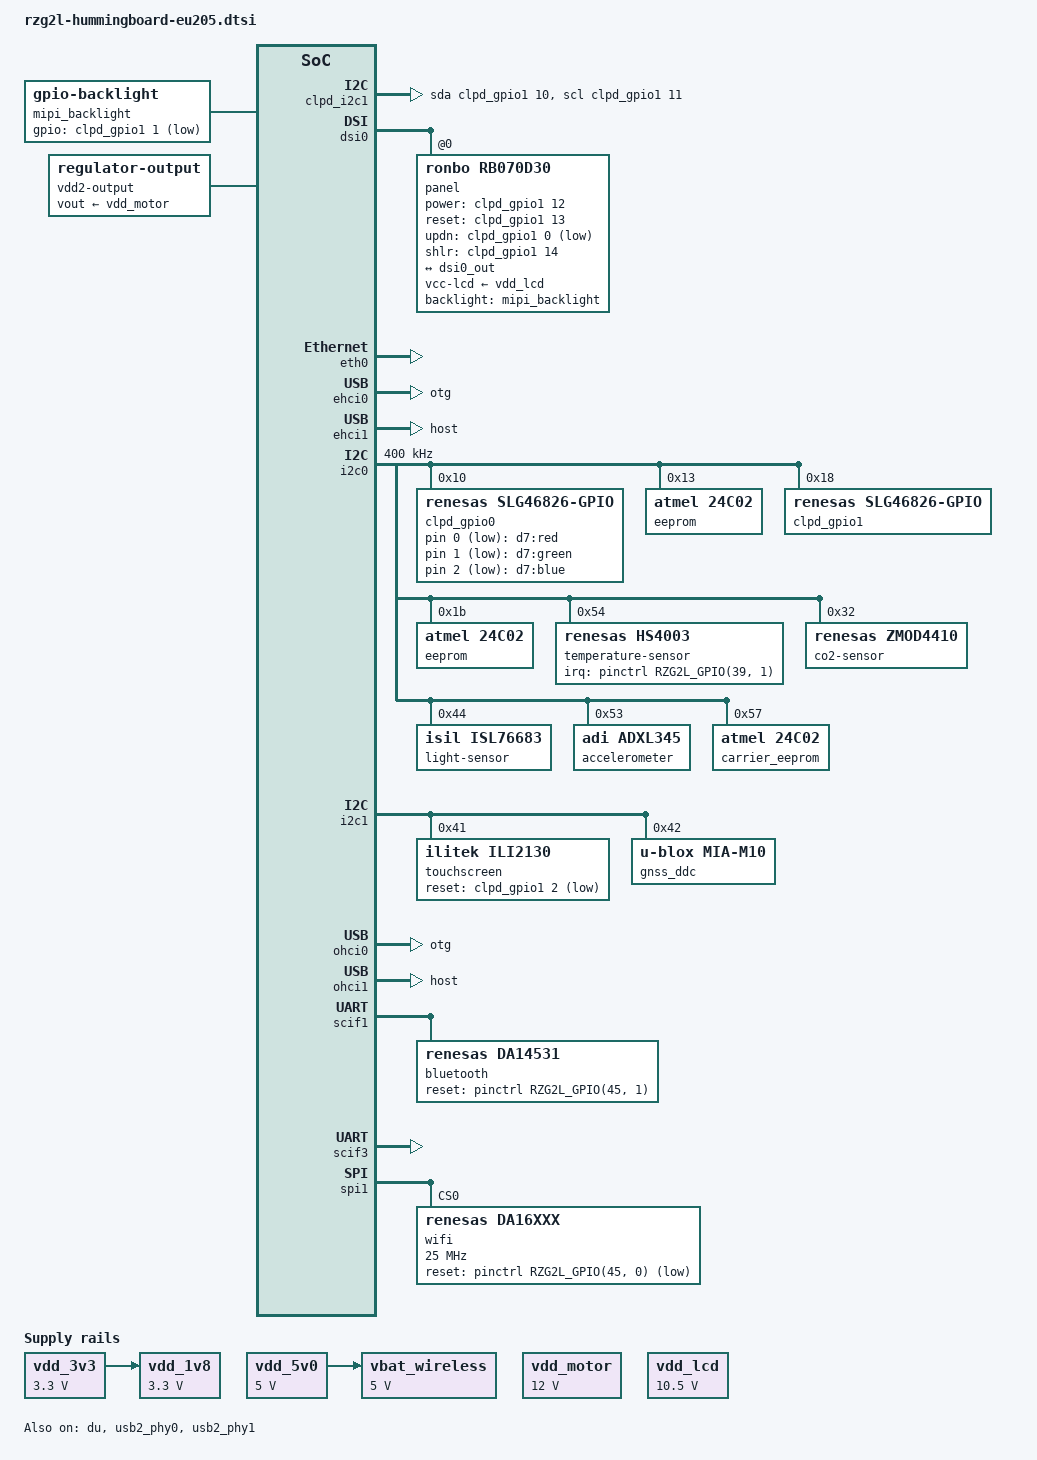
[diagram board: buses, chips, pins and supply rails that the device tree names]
// SPDX-License-Identifier: GPL-2.0+
/*
 * Copyright (C) 2025 Josua Mayer <josua@solid-run.com>
 *
 * DTS for Renesas EU205 Evaluation Board.
 *
 */

/ {
	aliases {
		serial0 = &scif0;
		serial1 = &scif1;
		serial2 = &scif2;
		serial3 = &scif3;
		i2c0 = &i2c0;
		i2c1 = &i2c1;
		i2c2 = &i2c2;
		i2c3 = &i2c3;
		i2c4 = &clpd_i2c1;
		mmc0 = &sdhi0;
		mmc1 = &sdhi1;
		ethernet0 = &eth0;
		gpio0 = &pinctrl;
		gpio1 = &clpd_gpio0;
		gpio2 = &clpd_gpio1;
	};

	leds {
		compatible = "gpio-leds";

		led-0-red {
			label = "d7:red";
			gpios = <&clpd_gpio0 0 GPIO_ACTIVE_LOW>;
		};

		led-0-green {
			label = "d7:green";
			gpios = <&clpd_gpio0 1 GPIO_ACTIVE_LOW>;
		};

		led-0-blue {
			label = "d7:blue";
			gpios = <&clpd_gpio0 2 GPIO_ACTIVE_LOW>;
		};
	};

	mipi_backlight: backlight {
		compatible = "gpio-backlight";
		gpios = <&clpd_gpio1 1 GPIO_ACTIVE_LOW>;
	};

	vdd_1v8: regulator-vdd-1v8 {
		/* on Carrier, from vdd-3v3 */
		compatible = "regulator-fixed";
		regulator-name = "vdd-1v8";
		regulator-min-microvolt = <3300000>;
		regulator-max-microvolt = <3300000>;
		vin-supply = <&vdd_3v3>;
		regulator-always-on;
	};

	vdd_3v3: regulator-vdd-3v3 {
		/* on SoM, PMIC, buck3 */
		compatible = "regulator-fixed";
		regulator-name = "vdd-3v3";
		regulator-min-microvolt = <3300000>;
		regulator-max-microvolt = <3300000>;
		regulator-always-on;
	};

	vdd_5v0: regulator-vdd-5v0 {
		/* on Carrier, from VIN */
		compatible = "regulator-fixed";
		regulator-name = "vdd-5v0";
		regulator-min-microvolt = <5000000>;
		regulator-max-microvolt = <5000000>;
		regulator-always-on;
	};

	/* switch for vdd2, sourced from VIN, supplies high-voltage io controller, can be exposed on J26 with R121 */
	vdd_motor: regulator-vdd2-motor {
		compatible = "regulator-fixed";
		model = "renesas,SLG59H1019V";
		regulator-name = "vdd2";
		/* this voltage is variable, based on external power-supply voltage */
		regulator-min-microvolt = <12000000>;
		regulator-max-microvolt = <12000000>;
		regulator-always-on;
	};

	vdd2-output {
		compatible = "regulator-output";
		vout-supply = <&vdd_motor>;
	};

	/* vbat voltage for lte and wifi */
	vbat_wireless: regulator-vbat-wireless {
		compatible = "regulator-fixed";
		model = "renesas,RAA214020";
		regulator-name = "vbat";
		regulator-min-microvolt = <5000000>;
		regulator-max-microvolt = <5000000>;
		vin-supply = <&vdd_5v0>;
		startup-delay-us = <100000>;
		enable-active-high;
		regulator-always-on;
	};

	/* lcd (dsi) power 10.5V, enable J7-36 */
	vdd_lcd: regulator-vdd-video {
		compatible = "regulator-fixed";
		model = "renesas,RAA211820";
		regulator-name = "vdd-video";
		regulator-min-microvolt = <10500000>;
		regulator-max-microvolt = <10500000>;
	};

	/* power-button SW1 J9-62 to pmic PWRON signal */

	clpd_i2c1: i2c {
		compatible = "i2c-gpio";
		sda-gpios = <&clpd_gpio1 10 (GPIO_ACTIVE_HIGH|GPIO_OPEN_DRAIN)>;
		scl-gpios = <&clpd_gpio1 11 (GPIO_ACTIVE_HIGH|GPIO_OPEN_DRAIN)>;
		i2c-gpio,delay-us = <500>; /* 1kHz ultra slow bus */
		#address-cells = <1>;
		#size-cells = <0>;
	};
};

&dsi0 {
	#address-cells = <1>;
	#size-cells = <0>;
	status = "okay";

	panel@0 {
		/* this is not the correct driver, but close enough for proof of concept */
		compatible = "ronbo,rb070d30";
		reg = <0>;
		vcc-lcd-supply = <&vdd_lcd>;
		power-gpios = <&clpd_gpio1 12 (GPIO_ACTIVE_HIGH|GPIO_OPEN_DRAIN)>;
		/* reset is active-low but ronbo driver inverts it internally */
		reset-gpios = <&clpd_gpio1 13 (GPIO_ACTIVE_HIGH|GPIO_OPEN_DRAIN)>;
		updn-gpios = <&clpd_gpio1 0 GPIO_ACTIVE_LOW>;
		shlr-gpios = <&clpd_gpio1 14 GPIO_ACTIVE_HIGH>;
		backlight = <&mipi_backlight>;

		port {
			dsi_in_panel: endpoint {
				remote-endpoint = <&dsi0_out>;
			};
		};
	};
};

&dsi0_out {
	remote-endpoint = <&dsi_in_panel>;
};

&du {
	status = "okay";
};

/* PHY is on the SoM, should be enabled in SoM dts */
&eth0 {
	status = "okay";

	// TODO: describe PHY LEDs
};

&ehci0 {
	dr_mode = "otg";
	status = "okay";
};

&ehci1 {
	dr_mode = "host";
	status = "okay";
};

&i2c0 {
	pinctrl-0 = <&i2c0_pins>;
	pinctrl-names = "default";
	clock-frequency = <400000>;
	status = "okay";

	/* U16 */
	clpd_gpio0: gpio@10 {
		compatible = "renesas,slg46826-gpio";
		reg = <0x10>;
		gpio-controller;
		#gpio-cells = <2>;
		gpio-line-names = "LED_R", "LED_G", "LED_B", "", "", "", "",
				  "DIG_OUT1", "bDIG_IN1", "", "", "DIG_OUT2",
				  "bDIG_IN2", "", "";
	};

	/* U16 */
	eeprom@13 {
		/* SLG46826V emulated eeprom */
		compatible = "atmel,24c02";
		reg = <0x13>;
		pagesize = <1>;
	};

	/* U29 */
	clpd_gpio1: gpio@18 {
		compatible = "renesas,slg46826-gpio";
		reg = <0x18>;
		gpio-controller;
		#gpio-cells = <2>;
		gpio-line-names = "DSI_U/D", "DSI_PWM_BL", "DSI_CTP_/RST",
				  "CAM_RST#", "", "", "", "", "", "CAM_TRIG",
				  "", "", "DSI_STBYB", "DSI_RESET", "DSI_L/R";
	};

	/* U29 */
	eeprom@1b {
		/* SLG46826V emulated eeprom */
		compatible = "atmel,24c02";
		reg = <0x1b>;
		pagesize = <1>;
	};

	/* HS4003 temp/humidity (U18) @ 54 */
	temperature-sensor@54 {
		compatible = "renesas,hs4003"; // no driver
		reg = <0x54>;
		interrupt-parent = <&pinctrl>;
		interrupts = <RZG2L_GPIO(39, 1) IRQ_TYPE_EDGE_FALLING>;
	};

	/* ZMOD4410AI1R air quality (U20) @ 32 */
	co2-sensor@32 {
		compatible = "renesas,zmod4410"; // no driver
		reg = <0x32>;
	};

	/* ISL76683AROZ-T7A ambient (U19) @ 44 */
	light-sensor@44 {
		/*
		 * 76683 only hs some similarities with 76682.
		 * The register set in particular is substantially different.
		 * There is no driver (yet) for 76683.
		 */
		compatible = "isil,isl76683";
		reg = <0x44>;
	};

	/* ADXL345 accelerometer (U17) @ 53 */
	accelerometer@53 {
		compatible = "adi,adxl345";
		reg = <0x53>;
	};

	/* R1EX24002ASAS0I#S0 eeprom (U26) @ 1010111 0x57 */
	carrier_eeprom: eeprom@57 {
		compatible = "atmel,24c02";
		reg = <0x57>;
		pagesize = <16>;
	};
};

&i2c1 {
	/* routed to CSI connector (J10) level-shifted via U29 */
	/* routed to DSI connector (J15) */

	/* touchscreen on DSI connector */
	touchscreen@41 {
		compatible = "ilitek,ili2130", "ilitek,ili210x";
		reg = <0x41>;
		reset-gpios = <&clpd_gpio1 2 (GPIO_ACTIVE_LOW|GPIO_OPEN_DRAIN)>;
	};

	/* MIA-M10Q gps @ 0x42 (no driver, similar neo-m8 ) */
	gnss_ddc: gnss@42 {
		compatible = "u-blox,mia-m10";
		reg = <0x42>;
	};

	/* SLG47115V (U22) high voltage programmable IO controller (no driver) */
};

&ohci0 {
	dr_mode = "otg";
	status = "okay";
};

&ohci1 {
	dr_mode = "host";
	status = "okay";
};

&pinctrl {
	usb0_pins: usb-0-pins {
		pinmux = <RZG2L_PORT_PINMUX(4, 0, 1)>; /* USB0_VBUSEN */
	};
};

&scif1 {
	pinctrl-0 = <&scif1_pins>;
	pinctrl-names = "default";
	uart-has-rtscts;
	/* disable dma to avoid kernel crashes on frame error */
	/delete-property/ dmas;
	/delete-property/ dma-names;
	status = "okay";

	bluetooth {
		compatible = "renesas,DA14531";
		reset-gpios = <&pinctrl RZG2L_GPIO(45, 1) GPIO_ACTIVE_HIGH>;
		max-speed = <1000000>;
	};
};

/* LTE */
&scif2 {
	/* conflict with on-som bluetooth (optional) */
	/delete-node/ cyw;
};

/* RS485 */
&scif3 {
	pinctrl-0 = <&scif3_pins>;
	pinctrl-names = "default";
	status = "okay";
};

&sdhi0_pwr_en_gpio {
	output-low;
};

&spi1 {
	pinctrl-0 = <&spi1_pins>;
	pinctrl-names = "default";
	dmas = <&dmac 0x2e99>, <&dmac 0x2e9a>;
	dma-names = "tx", "rx";
	status = "okay";

	wifi@0 {
		compatible = "renesas,da16xxx";
		reg = <0>;
		/* RZ-G2L maximum clock for second SPI is 25MHz */
		spi-max-frequency = <25000000>;
		reset-gpios = <&pinctrl RZG2L_GPIO(45, 0) GPIO_ACTIVE_LOW>;
	};
};

&usb2_phy0 {
	pinctrl-0 = <&usb0_pins>;
	pinctrl-names = "default";
	status = "okay";
};

&usb2_phy1 {
	status = "okay";
};
